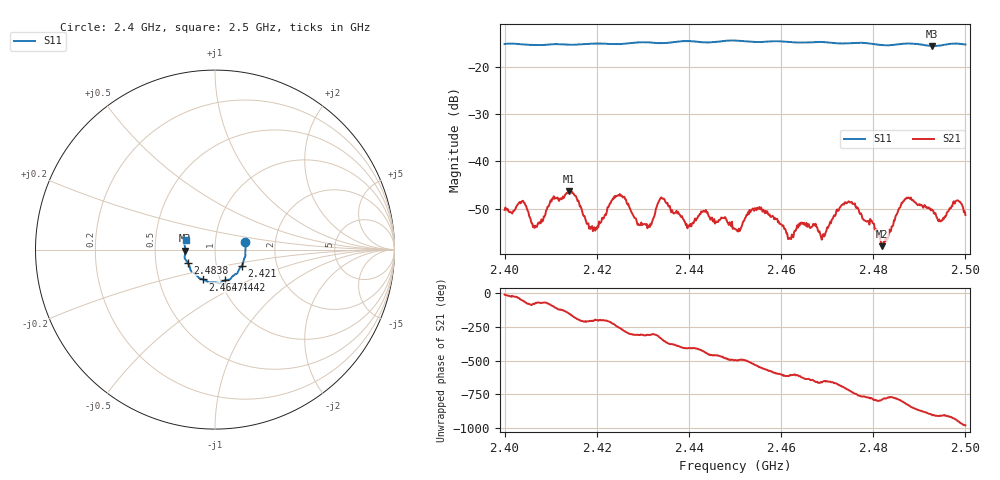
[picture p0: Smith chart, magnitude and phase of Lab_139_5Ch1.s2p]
# Hz S RI R 50
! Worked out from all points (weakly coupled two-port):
!   601 points, 2.4 GHz to 2.5 GHz, reference 50 ohm
!   highest |S21| = -46.34 dB at 2.414 GHz (marker M1); lowest = -57.9 dB at 2.4818 GHz (marker M2)
!   lowest |S11| = -15.6 dB at 2.4928 GHz (marker M3), VSWR 1.40, Z = 35.8 - j0.386 ohm
!   |S11| at or under -10 dB: start of sweep to end of sweep
!   S12 and S22 are empty: the file has one direction only
!   S11 on the Smith chart (normalised r, x): 2.4 GHz: 1.40, +0.12; 2.421 GHz: 1.33, -0.24; 2.4442 GHz: 1.05, -0.37; 2.4647 GHz: 0.83, -0.28; 2.4838 GHz: 0.73, -0.11; 2.5 GHz: 0.72, +0.08
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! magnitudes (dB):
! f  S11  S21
! 2.4 GHz  -15.2  -50.3
! 2.4038 GHz  -15.3  -48.4
! 2.4067 GHz  -15.4  -53.6
! 2.414 GHz  -15.4  -46.3
! 2.4167 GHz  -15.3  -50.0
! 2.421 GHz  -15.1  -52.8
! 2.4247 GHz  -15.2  -47.2
! 2.4293 GHz  -14.9  -53.5
! 2.4333 GHz  -15.0  -48.8
! 2.4442 GHz  -14.9  -51.3
! 2.45 GHz  -14.5  -54.3
! 2.4548 GHz  -14.8  -49.8
! 2.462 GHz  -14.8  -56.2
! 2.4647 GHz  -14.9  -53.1
! 2.4667 GHz  -14.8  -53.9
! 2.475 GHz  -15.1  -48.7
! 2.4818 GHz  -15.4  -57.9
! 2.4833 GHz  -15.5  -55.5
! 2.4838 GHz  -15.4  -54.8
! 2.4873 GHz  -15.1  -47.7
! 2.4928 GHz  -15.6  -50.3
! 2.5 GHz  -15.3  -51.4
